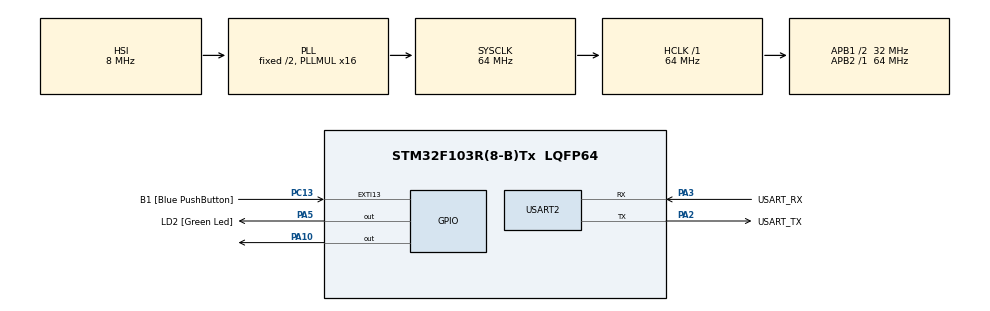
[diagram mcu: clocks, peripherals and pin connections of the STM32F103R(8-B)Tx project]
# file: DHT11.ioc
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Mcu.Family=STM32F1
Mcu.Name=STM32F103R(8-B)Tx
Mcu.Package=LQFP64
NVIC.EXTI15_10_IRQn=true\:0\:0\:false\:false\:true\:true\:true\:true
NVIC.PriorityGroup=NVIC_PRIORITYGROUP_4
PA10.Signal=GPIO_Output
PA13.GPIO_Label=TMS
PA13.Mode=Serial_Wire
PA13.Signal=SYS_JTMS-SWDIO
PA14.GPIO_Label=TCK
PA14.Mode=Serial_Wire
PA14.Signal=SYS_JTCK-SWCLK
PA2.GPIO_Label=USART_TX
PA2.GPIO_Mode=GPIO_MODE_AF_PP
PA2.GPIO_PuPd=GPIO_NOPULL
PA2.GPIO_Speed=GPIO_SPEED_FREQ_LOW
PA2.Mode=Asynchronous
PA2.Signal=USART2_TX
PA3.GPIO_Label=USART_RX
PA3.GPIO_Mode=GPIO_MODE_AF_PP
PA3.GPIO_PuPd=GPIO_NOPULL
PA3.GPIO_Speed=GPIO_SPEED_FREQ_LOW
PA3.Mode=Asynchronous
PA3.Signal=USART2_RX
PA5.GPIO_Label=LD2 [Green Led]
PA5.GPIO_ModeDefaultOutputPP=GPIO_MODE_OUTPUT_PP
PA5.GPIO_PuPd=GPIO_NOPULL
PA5.GPIO_Speed=GPIO_SPEED_FREQ_LOW
PA5.Signal=GPIO_Output
PB3.GPIO_Label=SWO
PB3.Signal=SYS_JTDO-TRACESWO
PC13-TAMPER-RTC.GPIO_Label=B1 [Blue PushButton]
PC13-TAMPER-RTC.GPIO_PuPd=GPIO_NOPULL
PC13-TAMPER-RTC.Signal=GPXTI13
PC14-OSC32_IN.Signal=RCC_OSC32_IN
PC15-OSC32_OUT.Signal=RCC_OSC32_OUT
PD0-OSC_IN.Signal=RCC_OSC_IN
PD1-OSC_OUT.Signal=RCC_OSC_OUT
ProjectManager.HeapSize=0x200
ProjectManager.StackSize=0x400
ProjectManager.TargetToolchain=STM32CubeIDE
RCC.AHBFreq_Value=64000000
RCC.APB1CLKDivider=RCC_HCLK_DIV2
RCC.APB1Freq_Value=32000000
RCC.APB1TimFreq_Value=64000000
RCC.APB2Freq_Value=64000000
RCC.APB2TimFreq_Value=64000000
RCC.HCLKFreq_Value=64000000
RCC.PLLMUL=RCC_PLL_MUL16
RCC.RTCClockSelection=RCC_RTCCLKSOURCE_LSE
RCC.SYSCLKFreq_VALUE=64000000
RCC.SYSCLKSource=RCC_SYSCLKSOURCE_PLLCLK
RCC.USBFreq_Value=64000000
TIM1.Period=65535-1
TIM1.Prescaler=64-1
USART2.VirtualMode=VM_ASYNC
VP_TIM1_VS_ClockSourceINT.Mode=Internal
board=NUCLEO-F103RB

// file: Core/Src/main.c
/* USER CODE BEGIN Header */
/**
  ******************************************************************************
  * @file           : main.c
  * @brief          : Main program body
  ******************************************************************************
  * @attention
  *
  * Copyright (c) 2026 STMicroelectronics.
  * All rights reserved.
  *
  * This software is licensed under terms that can be found in the LICENSE file
  * in the root directory of this software component.
  * If no LICENSE file comes with this software, it is provided AS-IS.
  *
  ******************************************************************************
  */
/* USER CODE END Header */
#include "main.h"

/* USER CODE BEGIN Includes */
#include "uart2_printf.h"
#include "dht11.h"
/* USER CODE END Includes */

TIM_HandleTypeDef htim1;

UART_HandleTypeDef huart2;

void SystemClock_Config(void);
static void MX_GPIO_Init(void);
static void MX_TIM1_Init(void);
static void MX_USART2_UART_Init(void);

int main(void)
{

  /* USER CODE BEGIN 1 */
	uint8_t i_RH, d_RH, i_Tmp, d_Tmp;
  /* USER CODE END 1 */

  /* MCU Configuration--------------------------------------------------------*/

  /* Reset of all peripherals, Initializes the Flash interface and the Systick. */
  HAL_Init();

  /* Configure the system clock */
  SystemClock_Config();

  /* Initialize all configured peripherals */
  MX_GPIO_Init();
  MX_TIM1_Init();
  MX_USART2_UART_Init();
  /* USER CODE BEGIN 2 */
  printf("DHT11 Start!\n");
    HAL_TIM_Base_Start(&htim1);
    DHT11_Init();
    HAL_Delay(2000);

  /* USER CODE END 2 */

  /* Infinite loop */
  /* USER CODE BEGIN WHILE */
  while (1)
  {
	  DHT11_trriger();

	 	  Set_Pin_Input(DHT11_PORT, DHT11_PIN);
	 	  DHT11_dumi_read();
	 	  i_RH = DHT11_rx_Data();
	 	  d_RH = DHT11_rx_Data();
	 	  i_Tmp = DHT11_rx_Data();
	 	  d_Tmp = DHT11_rx_Data();

	 	  Set_Pin_Output(DHT11_PORT, DHT11_PIN);

	 	  HAL_GPIO_WritePin(DHT11_PORT, DHT11_PIN, 1);

	 	  printf("temp = %d, humi = %d\n", i_Tmp, i_RH);
	 	  HAL_Delay(1500);

    /* USER CODE END WHILE */

  }
}

void SystemClock_Config(void)
{
  RCC_OscInitTypeDef RCC_OscInitStruct = {0};
  RCC_ClkInitTypeDef RCC_ClkInitStruct = {0};

  /** Initializes the RCC Oscillators according to the specified parameters
  * in the RCC_OscInitTypeDef structure.
  */
  RCC_OscInitStruct.OscillatorType = RCC_OSCILLATORTYPE_HSI;
  RCC_OscInitStruct.HSIState = RCC_HSI_ON;
  RCC_OscInitStruct.HSICalibrationValue = RCC_HSICALIBRATION_DEFAULT;
  RCC_OscInitStruct.PLL.PLLState = RCC_PLL_ON;
  RCC_OscInitStruct.PLL.PLLSource = RCC_PLLSOURCE_HSI_DIV2;
  RCC_OscInitStruct.PLL.PLLMUL = RCC_PLL_MUL16;
  if (HAL_RCC_OscConfig(&RCC_OscInitStruct) != HAL_OK)
  {
    Error_Handler();
  }

  /** Initializes the CPU, AHB and APB buses clocks
  */
  RCC_ClkInitStruct.ClockType = RCC_CLOCKTYPE_HCLK|RCC_CLOCKTYPE_SYSCLK
                              |RCC_CLOCKTYPE_PCLK1|RCC_CLOCKTYPE_PCLK2;
  RCC_ClkInitStruct.SYSCLKSource = RCC_SYSCLKSOURCE_PLLCLK;
  RCC_ClkInitStruct.AHBCLKDivider = RCC_SYSCLK_DIV1;
  RCC_ClkInitStruct.APB1CLKDivider = RCC_HCLK_DIV2;
  RCC_ClkInitStruct.APB2CLKDivider = RCC_HCLK_DIV1;

  if (HAL_RCC_ClockConfig(&RCC_ClkInitStruct, FLASH_LATENCY_2) != HAL_OK)
  {
    Error_Handler();
  }
}

static void MX_TIM1_Init(void)
{

  TIM_ClockConfigTypeDef sClockSourceConfig = {0};
  TIM_MasterConfigTypeDef sMasterConfig = {0};

  htim1.Instance = TIM1;
  htim1.Init.Prescaler = 64-1;
  htim1.Init.CounterMode = TIM_COUNTERMODE_UP;
  htim1.Init.Period = 65535-1;
  htim1.Init.ClockDivision = TIM_CLOCKDIVISION_DIV1;
  htim1.Init.RepetitionCounter = 0;
  htim1.Init.AutoReloadPreload = TIM_AUTORELOAD_PRELOAD_DISABLE;
  if (HAL_TIM_Base_Init(&htim1) != HAL_OK)
  {
    Error_Handler();
  }
  sClockSourceConfig.ClockSource = TIM_CLOCKSOURCE_INTERNAL;
  if (HAL_TIM_ConfigClockSource(&htim1, &sClockSourceConfig) != HAL_OK)
  {
    Error_Handler();
  }
  sMasterConfig.MasterOutputTrigger = TIM_TRGO_RESET;
  sMasterConfig.MasterSlaveMode = TIM_MASTERSLAVEMODE_DISABLE;
  if (HAL_TIMEx_MasterConfigSynchronization(&htim1, &sMasterConfig) != HAL_OK)
  {
    Error_Handler();
  }

}

static void MX_USART2_UART_Init(void)
{

  huart2.Instance = USART2;
  huart2.Init.BaudRate = 115200;
  huart2.Init.WordLength = UART_WORDLENGTH_8B;
  huart2.Init.StopBits = UART_STOPBITS_1;
  huart2.Init.Parity = UART_PARITY_NONE;
  huart2.Init.Mode = UART_MODE_TX_RX;
  huart2.Init.HwFlowCtl = UART_HWCONTROL_NONE;
  huart2.Init.OverSampling = UART_OVERSAMPLING_16;
  if (HAL_UART_Init(&huart2) != HAL_OK)
  {
    Error_Handler();
  }

}

static void MX_GPIO_Init(void)
{
  GPIO_InitTypeDef GPIO_InitStruct = {0};

  /* GPIO Ports Clock Enable */
  __HAL_RCC_GPIOC_CLK_ENABLE();
  __HAL_RCC_GPIOD_CLK_ENABLE();
  __HAL_RCC_GPIOA_CLK_ENABLE();
  __HAL_RCC_GPIOB_CLK_ENABLE();

  /*Configure GPIO pin Output Level */
  HAL_GPIO_WritePin(GPIOA, LD2_Pin|GPIO_PIN_10, GPIO_PIN_RESET);

  /*Configure GPIO pin : B1_Pin */
  GPIO_InitStruct.Pin = B1_Pin;
  GPIO_InitStruct.Mode = GPIO_MODE_IT_RISING;
  GPIO_InitStruct.Pull = GPIO_NOPULL;
  HAL_GPIO_Init(B1_GPIO_Port, &GPIO_InitStruct);

  /*Configure GPIO pins : LD2_Pin PA10 */
  GPIO_InitStruct.Pin = LD2_Pin|GPIO_PIN_10;
  GPIO_InitStruct.Mode = GPIO_MODE_OUTPUT_PP;
  GPIO_InitStruct.Pull = GPIO_NOPULL;
  GPIO_InitStruct.Speed = GPIO_SPEED_FREQ_LOW;
  HAL_GPIO_Init(GPIOA, &GPIO_InitStruct);

  /* EXTI interrupt init*/
  HAL_NVIC_SetPriority(EXTI15_10_IRQn, 0, 0);
  HAL_NVIC_EnableIRQ(EXTI15_10_IRQn);

}

void Error_Handler(void)
{
  __disable_irq();
  while (1)
  {
  }
}
